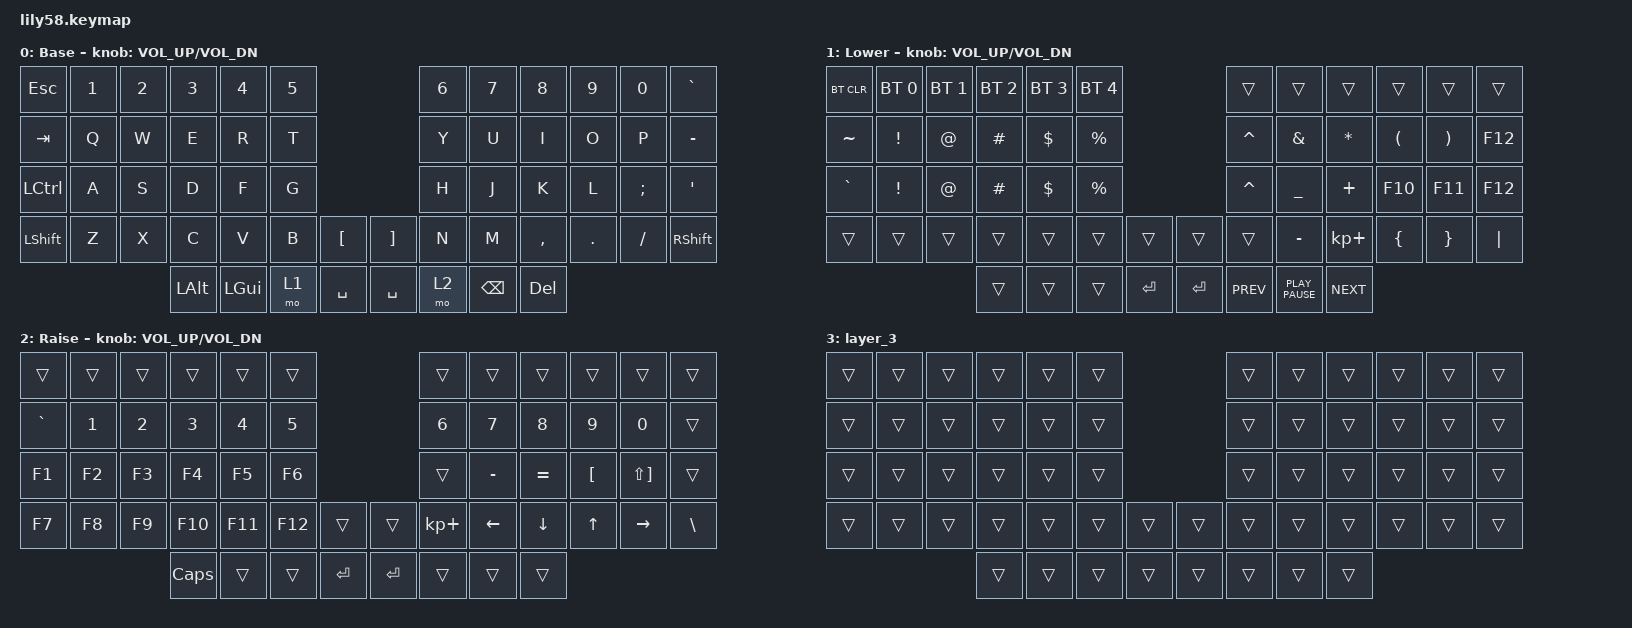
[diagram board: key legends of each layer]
/*
 * Copyright (c) 2020 The ZMK Contributors
 *
 * SPDX-License-Identifier: MIT
 */

#include <behaviors.dtsi>
#include <dt-bindings/zmk/bt.h>
#include <dt-bindings/zmk/keys.h>

/ {
    keymap {
        compatible = "zmk,keymap";

        default_layer {
            // ------------------------------------------------------------------------------------------------------------
            // |  ESC  |  1  |  2  |  3   |  4   |  5   |                   |  6   |  7    |  8    |  9   |   0   |   `   |
            // |  TAB  |  Q  |  W  |  E   |  R   |  T   |                   |  Y   |  U    |  I    |  O   |   P   |   -   |
            // |  CTRL |  A  |  S  |  D   |  F   |  G   |                   |  H   |  J    |  K    |  L   |   ;   |   '   |
            // | SHIFT |  Z  |  X  |  C   |  V   |  B   |   "["  |  |  "]"  |  N   |  M    |  ,    |  .   |   /   | SHIFT |
            //                     | ALT  | GUI  | LOWER|  SPACE |  | ENTER | RAISE| BSPC  | GUI   |

            display-name = "Base";
            bindings = <
&kp ESC    &kp N1  &kp N2  &kp N3    &kp N4    &kp N5                          &kp N6  &kp N7    &kp N8      &kp N9   &kp N0    &kp GRAVE
&kp TAB    &kp Q   &kp W   &kp E     &kp R     &kp T                           &kp Y   &kp U     &kp I       &kp O    &kp P     &kp MINUS
&kp LCTRL  &kp A   &kp S   &kp D     &kp F     &kp G                           &kp H   &kp J     &kp K       &kp L    &kp SEMI  &kp SQT
&kp LSHFT  &kp Z   &kp X   &kp C     &kp V     &kp B   &kp LBKT     &kp RBKT   &kp N   &kp M     &kp COMMA   &kp DOT  &kp FSLH  &kp RSHFT
                           &kp LALT  &kp LGUI  &mo 1   &kp SPACE    &kp SPACE  &mo 2   &kp BSPC  &kp DELETE
            >;

            sensor-bindings = <&inc_dec_kp C_VOL_UP C_VOL_DN>;
        };

        lower_layer {
            // ------------------------------------------------------------------------------------------------------------
            // | BTCLR | BT1 | BT2 |  BT3 |  BT4 |  BT5 |                   |      |       |       |      |       |       |
            // |  F1   |  F2 |  F3 |  F4  |  F5  |  F6  |                   |  F7  |  F8   |  F9   |  F10 |  F11  |  F12  |
            // |   `   |  !  |  @  |  #   |  $   |  %   |                   |  ^   |  &    |  *    |  (   |   )   |   ~   |
            // |       |     |     |      |      |      |        |  |       |      |  _    |  +    |  {   |   }   |  "|"  |
            //                     |      |      |      |        |  |       |      |       |       |

            display-name = "Lower";
            bindings = <
&bt BT_CLR  &bt BT_SEL 0     &bt BT_SEL 1  &bt BT_SEL 2  &bt BT_SEL 3  &bt BT_SEL 4                          &trans      &trans            &trans        &trans                &trans                 &trans
&kp TILDE   &kp EXCLAMATION  &kp AT_SIGN   &kp HASH      &kp DOLLAR    &kp PERCENT                           &kp CARET   &kp AMPERSAND     &kp ASTERISK  &kp LEFT_PARENTHESIS  &kp RIGHT_PARENTHESIS  &kp F12
&kp GRAVE   &kp EXCL         &kp AT        &kp HASH      &kp DOLLAR    &kp PRCNT                             &kp CARET   &kp UNDERSCORE    &kp PLUS      &kp F10               &kp F11                &kp F12
&trans      &trans           &trans        &trans        &trans        &trans        &trans       &trans     &trans      &kp MINUS         &kp KP_PLUS   &kp LBRC              &kp RBRC               &kp PIPE
                                           &trans        &trans        &trans        &kp ENTER    &kp ENTER  &kp C_PREV  &kp K_PLAY_PAUSE  &kp C_NEXT
            >;

            sensor-bindings = <&inc_dec_kp C_VOL_UP C_VOL_DN>;
        };

        raise_layer {
            // ------------------------------------------------------------------------------------------------------------
            // |       |     |     |      |      |      |                   |      |       |       |      |       |       |
            // |   `   |  1  |  2  |  3   |  4   |  5   |                   |  6   |   7   |   8   |  9   |   0   |       |
            // |   F1  |  F2 |  F3 |  F4  |  F5  |  F6  |                   |      |   <-  |   v   |  ^   |  ->   |       |
            // |   F7  |  F8 |  F9 |  F10 |  F11 |  F12 |        |  |       |  +   |   -   |   =   |  [   |   ]   |   \   |
            //                     |      |      |      |        |  |       |      |       |       |

            display-name = "Raise";
            bindings = <
&trans     &trans  &trans  &trans        &trans   &trans                           &trans       &trans          &trans          &trans            &trans                 &trans
&kp GRAVE  &kp N1  &kp N2  &kp N3        &kp N4   &kp N5                           &kp N6       &kp N7          &kp N8          &kp N9            &kp N0                 &trans
&kp F1     &kp F2  &kp F3  &kp F4        &kp F5   &kp F6                           &trans       &kp MINUS       &kp EQUAL       &kp LEFT_BRACKET  &kp LS(RIGHT_BRACKET)  &trans
&kp F7     &kp F8  &kp F9  &kp F10       &kp F11  &kp F12  &trans       &trans     &kp KP_PLUS  &kp LEFT_ARROW  &kp DOWN_ARROW  &kp UP_ARROW      &kp RIGHT_ARROW        &kp BSLH
                           &kp CAPSLOCK  &trans   &trans   &kp ENTER    &kp ENTER  &trans       &trans          &trans
            >;

            sensor-bindings = <&inc_dec_kp C_VOL_UP C_VOL_DN>;
        };

        layer_3 {
            bindings = <
&trans  &trans  &trans  &trans  &trans  &trans                    &trans  &trans  &trans  &trans  &trans  &trans
&trans  &trans  &trans  &trans  &trans  &trans                    &trans  &trans  &trans  &trans  &trans  &trans
&trans  &trans  &trans  &trans  &trans  &trans                    &trans  &trans  &trans  &trans  &trans  &trans
&trans  &trans  &trans  &trans  &trans  &trans  &trans    &trans  &trans  &trans  &trans  &trans  &trans  &trans
                        &trans  &trans  &trans  &trans    &trans  &trans  &trans  &trans
            >;
        };
    };
};
